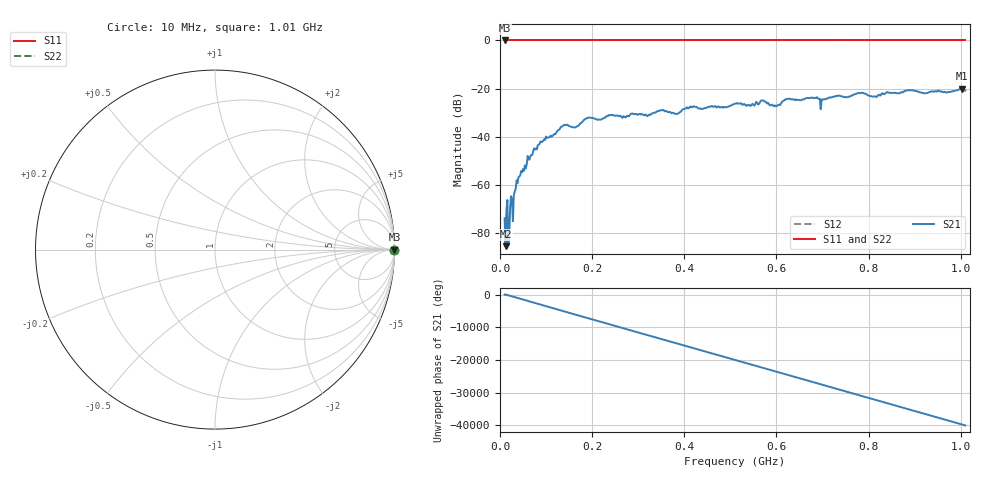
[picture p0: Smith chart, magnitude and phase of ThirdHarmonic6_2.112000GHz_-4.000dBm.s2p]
! 8/17/2025 1:15:15 AM
! C:\ANRITSUVNA\TEMP\TEMP.S2P
! CHANNEL.1
! TR.MEASUREMENT
! RAW.DATA
! RF.CORRECTION.OFF
! AVERAGING.OFF
! IF.BANDWIDTH: 5KHZ
! SWEEPTYPE:  FREQ.SWEEP(Linear)
! Reference Plane Port Info
! PORT:  PORT1  PORT2
! DISTANCE:  0  m  0  m
! TIME:  0  s  0  s
! PHASE.OFFSET:  0  deg.  0  deg.
! LOSS:  0  dB  0  dB
! REF.LOSS:  0  dB  0  dB
! REF.FREQ:  0  Hz  0  Hz
! Power Info
! POWER:  -20  dBm  -20  dBm
! EFF.POWER:  -20  dBm  -20  dBm
! SOURCE.ATTEN:  0  dB  0  dB
! TEST.ATTEN:  0  dB  0  dB
# GHZ S RI R 50.0
! FREQ.GHZ  S11RE  S11IM  S21RE  S21IM  S12RE  S12IM  S22RE  S22IM
!; PortSelection: Port_12
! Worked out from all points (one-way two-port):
!   501 points, 10 MHz to 1.01 GHz, reference 50 ohm
!   highest |S21| = -20.08 dB at 1.002 GHz (marker M1); lowest = -85.5 dB at 12 MHz (marker M2)
!   lowest |S11| = 0.0 dB at 10 MHz (marker M3)
!   |S11| at or under -10 dB: nowhere
!   |S22| runs from 0.0 to 0.0 dB; largest |S21 - S12| = 1.1
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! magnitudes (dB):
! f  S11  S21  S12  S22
! 10 MHz  0.0  -73.9  0.0  0.0
! 12 MHz  0.0  -85.5  0.0  0.0
! 16 MHz  0.0  -66.3  0.0  0.0
! 24 MHz  0.0  -64.7  0.0  0.0
! 36 MHz  0.0  -58.1  0.0  0.0
! 44 MHz  0.0  -55.9  0.0  0.0
! 86 MHz  0.0  -42.9  0.0  0.0
! 136 MHz  0.0  -35.6  0.0  0.0
! 162 MHz  0.0  -36.2  0.0  0.0
! 178 MHz  0.0  -33.9  0.0  0.0
! 344 MHz  0.0  -29.4  0.0  0.0
! 384 MHz  0.0  -30.5  0.0  0.0
! 416 MHz  0.0  -27.7  0.0  0.0
! 510 MHz  0.0  -26.3  0.0  0.0
! 570 MHz  0.0  -24.9  0.0  0.0
! 598 MHz  0.0  -27.3  0.0  0.0
! 624 MHz  0.0  -24.3  0.0  0.0
! 678 MHz  0.0  -23.8  0.0  0.0
! 700 MHz  0.0  -24.6  0.0  0.0
! 844 MHz  0.0  -21.7  0.0  0.0
! 1.002 GHz  0.0  -20.1  0.0  0.0
! 1.01 GHz  0.0  -20.8  0.0  0.0
